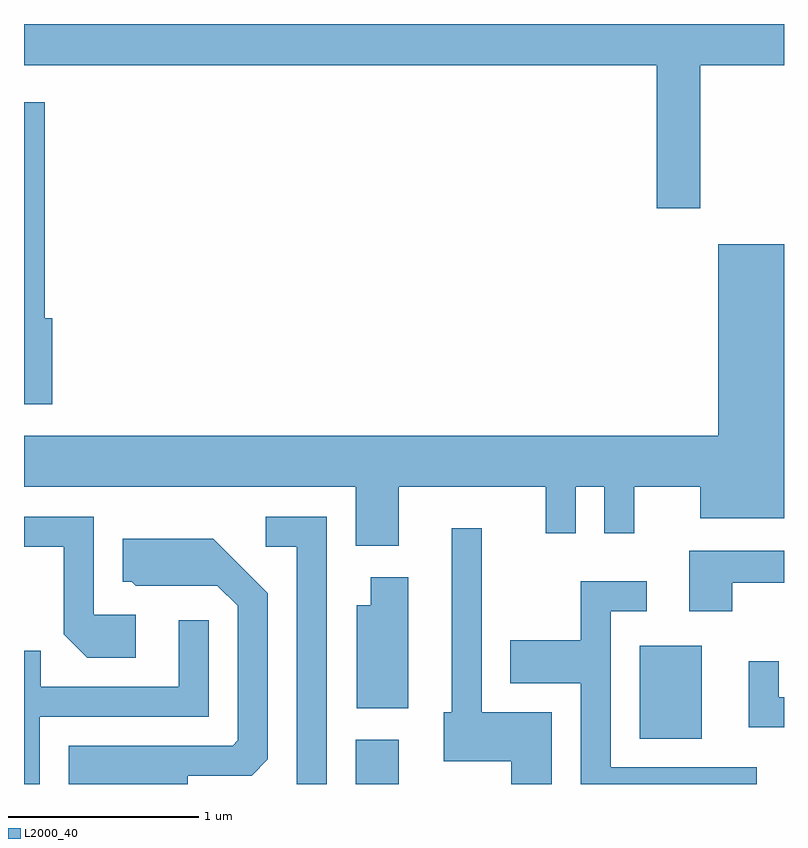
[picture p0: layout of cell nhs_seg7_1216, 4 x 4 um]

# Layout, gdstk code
import gdstk
lib = gdstk.Library(unit=1e-6, precision=1e-09)
def R(c, l, rs):  # rectangles x0, y0, x1, y1
    for r in rs: c.add(gdstk.rectangle(r[:2], r[2:], *l))
def P(c, l, *ps):  # polygons
    for p in ps: c.add(gdstk.Polygon(p, *l))
L2000_40 = (2000, 40)

nhs_seg7_1216 = lib.new_cell('nhs_seg7_1216')
R(nhs_seg7_1216, L2000_40, [(223.356,1768.252,223.584,1768.484), (224.851,1768.491,225.179,1768.979)])
P(nhs_seg7_1216, L2000_40, [(225.169,1772.036),(225.611,1772.036),(225.611,1772.252),(221.611,1772.252),(221.611,1772.036),(224.941,1772.036),(224.941,1771.281),(225.169,1771.281)],
  [(221.759,1770.704),(221.719,1770.704),(221.719,1771.839),(221.611,1771.839),(221.611,1770.251),(221.759,1770.251)],
  [(223.584,1769.816),(224.356,1769.816),(224.356,1769.573),(224.514,1769.573),(224.514,1769.816),(224.666,1769.816),(224.666,1769.573),(224.824,1769.573),(224.824,1769.816),(225.171,1769.816),(225.171,1769.651),(225.611,1769.651),(225.611,1771.094),(225.266,1771.094),(225.266,1770.084),(221.611,1770.084),(221.611,1769.816),(223.356,1769.816),(223.356,1769.506),(223.584,1769.506)],
  [(222.199,1769.144),(221.979,1769.144),(221.979,1769.659),(221.611,1769.659),(221.611,1769.501),(221.821,1769.501),(221.821,1769.039),(221.944,1768.916),(222.199,1768.916)],
  [(223.204,1769.659),(222.883,1769.659),(222.883,1769.501),(223.046,1769.501),(223.046,1768.252),(223.204,1768.252)],
  [(224.389,1768.629),(224.019,1768.629),(224.019,1769.598),(223.861,1769.598),(223.861,1768.629),(223.821,1768.629),(223.821,1768.371),(224.176,1768.371),(224.176,1768.252),(224.389,1768.252)],
  [(222.474,1768.296),(222.809,1768.296),(222.894,1768.382),(222.894,1769.257),(222.607,1769.544),(222.131,1769.544),(222.131,1769.316),(222.179,1769.316),(222.199,1769.296),(222.629,1769.296),(222.736,1769.189),(222.736,1768.482),(222.709,1768.454),(221.846,1768.454),(221.846,1768.252),(222.474,1768.252)],
  [(225.339,1769.311),(225.611,1769.311),(225.611,1769.479),(225.111,1769.479),(225.111,1769.161),(225.339,1769.161)],
  [(223.634,1769.339),(223.436,1769.339),(223.436,1769.194),(223.361,1769.194),(223.361,1768.651),(223.634,1768.651)],
  [(225.468,1768.339),(224.699,1768.339),(224.699,1769.161),(224.888,1769.161),(224.888,1769.319),(224.541,1769.319),(224.541,1769.009),(224.171,1769.009),(224.171,1768.781),(224.541,1768.781),(224.541,1768.252),(225.468,1768.252)],
  [(221.694,1768.606),(222.584,1768.606),(222.584,1769.113),(222.426,1769.113),(222.426,1768.764),(221.699,1768.764),(221.699,1768.953),(221.611,1768.953),(221.611,1768.252),(221.694,1768.252)],
  [(225.611,1768.709),(225.584,1768.709),(225.584,1768.898),(225.426,1768.898),(225.426,1768.551),(225.611,1768.551)])

lib.write_gds('nhs_seg7_1216.gds')
